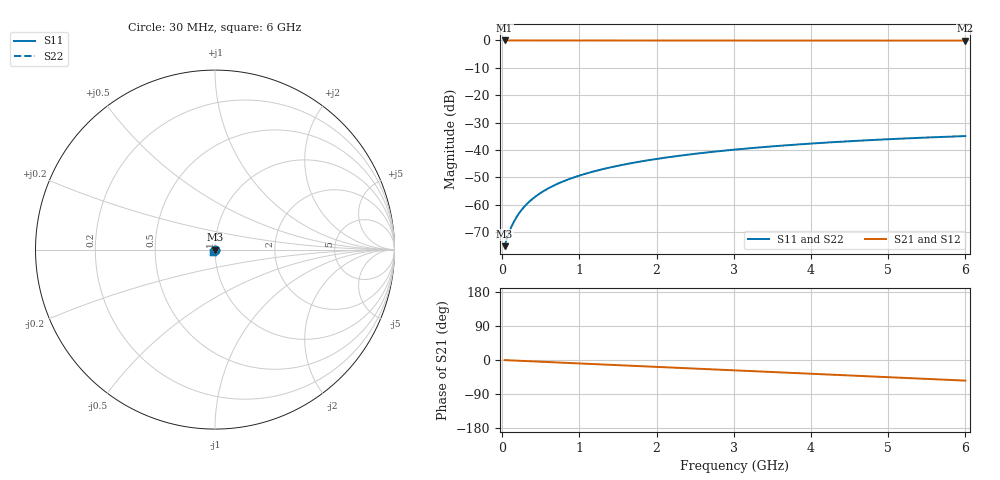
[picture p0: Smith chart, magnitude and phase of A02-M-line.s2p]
! yapnr Order 0 O0-M: O0-M A02 M dL4.5 (line, family M)
! stackup OSHPARK-4L-EM528, nominal parameters; geometry of the OSHPARK-4L-FR408HR design
! model: 2D quasi-static RLGC (Djordjevic-Sarkar, Huray roughness, Wheeler loss); generated by python -m yapnr.rf.coupons expected --stackup OSHPARK-4L-FR408HR --upload M
! reference planes 10 mm from each end; 50 ohm (from the M line's Zc)
# GHz S DB R 50
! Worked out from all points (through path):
!   200 points, 30 MHz to 6 GHz, reference 50 ohm
!   highest |S21| = 0.00 dB at 30 MHz (marker M1); lowest = -0.1 dB at 6 GHz (marker M2)
!   group delay of S21, straight-line fit = 25.2 ps
!   lowest |S11| = -75.1 dB at 30 MHz (marker M3), VSWR 1.00, Z = 50 + j0.00198 ohm
!   |S11| at or under -10 dB: start of sweep to end of sweep
!   |S22| runs from -75.1 to -34.9 dB; largest |S21 - S12| = 0
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0.03  -75.07 6.4  -0.00 -0.3  -0.00 -0.3  -75.07 6.4
0.06  -72.16 -12.6  -0.00 -0.6  -0.00 -0.6  -72.16 -12.6
0.09  -69.85 -26.2  -0.00 -0.8  -0.00 -0.8  -69.85 -26.2
0.12  -67.88 -36.0  -0.00 -1.1  -0.00 -1.1  -67.88 -36.0
0.15  -66.17 -43.1  -0.00 -1.4  -0.00 -1.4  -66.17 -43.1
0.18  -64.68 -48.6  -0.00 -1.7  -0.00 -1.7  -64.68 -48.6
0.24  -62.20 -56.5  -0.01 -2.2  -0.01 -2.2  -62.20 -56.5
0.3  -60.21 -61.9  -0.01 -2.8  -0.01 -2.8  -60.21 -61.9
0.36  -58.56 -65.9  -0.01 -3.3  -0.01 -3.3  -58.56 -65.9
0.42  -57.16 -69.0  -0.01 -3.8  -0.01 -3.8  -57.16 -69.0
0.51  -55.39 -72.8  -0.01 -4.7  -0.01 -4.7  -55.39 -72.8
0.66  -53.04 -77.5  -0.01 -6.0  -0.01 -6.0  -53.04 -77.5
0.84  -50.86 -81.7  -0.01 -7.7  -0.01 -7.7  -50.86 -81.7
1.05  -48.86 -85.7  -0.01 -9.6  -0.01 -9.6  -48.86 -85.7
1.26  -47.24 -89.1  -0.02 -11.5  -0.02 -11.5  -47.24 -89.1
1.5  -45.71 -92.5  -0.02 -13.7  -0.02 -13.7  -45.71 -92.5
2.04  -43.06 -99.3  -0.02 -18.5  -0.02 -18.5  -43.06 -99.3
2.49  -41.39 -104.4  -0.03 -22.6  -0.03 -22.6  -41.39 -104.4
3.03  -39.78 -110.2  -0.03 -27.5  -0.03 -27.5  -39.78 -110.2
4.02  -37.59 -120.3  -0.04 -36.5  -0.04 -36.5  -37.59 -120.3
5.01  -36.03 -130.1  -0.05 -45.4  -0.05 -45.4  -36.03 -130.1
6  -34.89 -139.6  -0.05 -54.4  -0.05 -54.4  -34.89 -139.6
